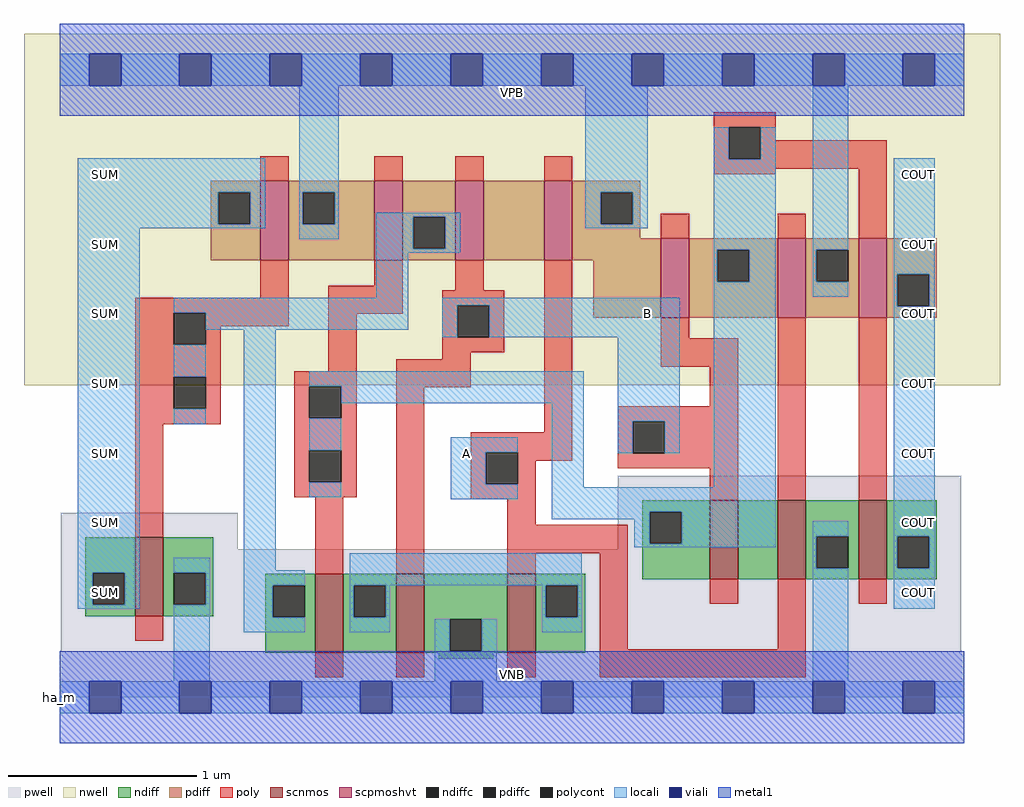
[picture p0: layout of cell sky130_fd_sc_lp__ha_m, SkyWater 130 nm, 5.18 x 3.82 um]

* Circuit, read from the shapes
.subckt sky130_fd_sc_lp__ha_m A B VGND VNB VPB VPWR COUT SUM
XM1 VGND n1 SUM VNB sky130_fd_pr__nfet_01v8 w=0.42 l=0.15
XM2 n2 n3 n1 VNB sky130_fd_pr__nfet_01v8 w=0.42 l=0.15
XM3 VGND B n2 VNB sky130_fd_pr__nfet_01v8 w=0.42 l=0.15
XM4 n2 A VGND VNB sky130_fd_pr__nfet_01v8 w=0.42 l=0.15
XM5 n4 B n3 VNB sky130_fd_pr__nfet_01v8 w=0.42 l=0.15
XM6 VGND A n4 VNB sky130_fd_pr__nfet_01v8 w=0.42 l=0.15
XM7 COUT n3 VGND VNB sky130_fd_pr__nfet_01v8 w=0.42 l=0.15
XM8 VPWR n1 SUM VPB sky130_fd_pr__pfet_01v8_hvt w=0.42 l=0.15
XM9 n1 n3 VPWR VPB sky130_fd_pr__pfet_01v8_hvt w=0.42 l=0.15
XM10 n5 B n1 VPB sky130_fd_pr__pfet_01v8_hvt w=0.42 l=0.15
XM11 VPWR A n5 VPB sky130_fd_pr__pfet_01v8_hvt w=0.42 l=0.15
XM12 n3 B VPWR VPB sky130_fd_pr__pfet_01v8_hvt w=0.42 l=0.15
XM13 VPWR A n3 VPB sky130_fd_pr__pfet_01v8_hvt w=0.42 l=0.15
XM14 COUT n3 VPWR VPB sky130_fd_pr__pfet_01v8_hvt w=0.42 l=0.15
.ends

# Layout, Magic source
magic
tech sky130A
magscale 1 2
<< nwell >>
rect -38 331 998 704
<< pwell >>
rect 1 157 189 196
rect 592 157 957 235
rect 1 49 957 157
rect 0 0 960 49
<< scnmos >>
rect 80 86 110 170
rect 271 47 301 131
rect 357 47 387 131
rect 475 47 505 131
rect 690 125 720 209
rect 762 125 792 209
rect 848 125 878 209
<< scpmoshvt >>
rect 213 464 243 548
rect 334 464 364 548
rect 420 464 450 548
rect 514 464 544 548
rect 638 403 668 487
rect 762 403 792 487
rect 848 403 878 487
<< ndiff >>
rect 27 132 80 170
rect 27 98 35 132
rect 69 98 80 132
rect 27 86 80 98
rect 110 132 163 170
rect 110 98 121 132
rect 155 98 163 132
rect 618 197 690 209
rect 110 86 163 98
rect 218 119 271 131
rect 218 85 226 119
rect 260 85 271 119
rect 218 47 271 85
rect 301 119 357 131
rect 301 85 312 119
rect 346 85 357 119
rect 301 47 357 85
rect 387 83 475 131
rect 387 49 414 83
rect 448 49 475 83
rect 387 47 475 49
rect 505 119 558 131
rect 505 85 516 119
rect 550 85 558 119
rect 505 47 558 85
rect 618 163 626 197
rect 660 163 690 197
rect 618 125 690 163
rect 720 125 762 209
rect 792 171 848 209
rect 792 137 803 171
rect 837 137 848 171
rect 792 125 848 137
rect 878 171 931 209
rect 878 137 889 171
rect 923 137 931 171
rect 878 125 931 137
rect 402 41 460 47
<< pdiff >>
rect 160 536 213 548
rect 160 502 168 536
rect 202 502 213 536
rect 160 464 213 502
rect 243 536 334 548
rect 243 502 258 536
rect 292 502 334 536
rect 243 464 334 502
rect 364 510 420 548
rect 364 476 375 510
rect 409 476 420 510
rect 364 464 420 476
rect 450 464 514 548
rect 544 536 616 548
rect 544 502 574 536
rect 608 502 616 536
rect 544 487 616 502
rect 544 464 638 487
rect 566 403 638 464
rect 668 475 762 487
rect 668 441 698 475
rect 732 441 762 475
rect 668 403 762 441
rect 792 475 848 487
rect 792 441 803 475
rect 837 441 848 475
rect 792 403 848 441
rect 878 449 931 487
rect 878 415 889 449
rect 923 415 931 449
rect 878 403 931 415
<< ndiffc >>
rect 35 98 69 132
rect 121 98 155 132
rect 226 85 260 119
rect 312 85 346 119
rect 414 49 448 83
rect 516 85 550 119
rect 626 163 660 197
rect 803 137 837 171
rect 889 137 923 171
<< pdiffc >>
rect 168 502 202 536
rect 258 502 292 536
rect 375 476 409 510
rect 574 502 608 536
rect 698 441 732 475
rect 803 441 837 475
rect 889 415 923 449
<< poly >>
rect 694 605 760 621
rect 213 548 243 574
rect 334 548 364 574
rect 420 548 450 574
rect 514 548 544 574
rect 694 571 710 605
rect 744 591 760 605
rect 744 571 878 591
rect 694 561 878 571
rect 694 555 760 561
rect 638 487 668 513
rect 762 487 792 513
rect 848 487 878 561
rect 213 424 243 464
rect 334 437 364 464
rect 80 408 243 424
rect 80 374 121 408
rect 155 394 243 408
rect 285 407 364 437
rect 420 432 450 464
rect 406 416 472 432
rect 155 374 171 394
rect 80 340 171 374
rect 285 346 315 407
rect 406 382 422 416
rect 456 382 472 416
rect 406 366 472 382
rect 406 359 436 366
rect 80 306 121 340
rect 155 306 171 340
rect 80 290 171 306
rect 249 330 315 346
rect 249 296 265 330
rect 299 296 315 330
rect 80 170 110 290
rect 249 262 315 296
rect 249 228 265 262
rect 299 228 315 262
rect 249 212 315 228
rect 357 329 436 359
rect 271 131 301 212
rect 357 131 387 329
rect 514 281 544 464
rect 638 381 668 403
rect 638 351 720 381
rect 690 309 720 351
rect 436 260 544 281
rect 436 226 452 260
rect 486 251 544 260
rect 592 293 720 309
rect 592 259 608 293
rect 642 259 720 293
rect 486 226 505 251
rect 592 243 720 259
rect 436 210 505 226
rect 475 183 505 210
rect 690 209 720 243
rect 762 209 792 403
rect 848 209 878 403
rect 475 153 603 183
rect 475 131 505 153
rect 80 60 110 86
rect 573 51 603 153
rect 690 99 720 125
rect 762 51 792 125
rect 848 99 878 125
rect 271 21 301 47
rect 357 21 387 47
rect 475 21 505 47
rect 573 21 792 51
<< polycont >>
rect 710 571 744 605
rect 121 374 155 408
rect 422 382 456 416
rect 121 306 155 340
rect 265 296 299 330
rect 265 228 299 262
rect 452 226 486 260
rect 608 259 642 293
<< locali >>
rect 0 649 31 683
rect 65 649 127 683
rect 161 649 223 683
rect 257 649 319 683
rect 353 649 415 683
rect 449 649 511 683
rect 545 649 607 683
rect 641 649 703 683
rect 737 649 799 683
rect 833 649 895 683
rect 929 649 960 683
rect 19 536 218 572
rect 19 502 168 536
rect 202 502 218 536
rect 19 498 218 502
rect 254 536 296 649
rect 254 502 258 536
rect 292 502 296 536
rect 558 536 624 649
rect 19 132 85 498
rect 254 486 296 502
rect 336 510 425 514
rect 336 476 375 510
rect 409 476 425 510
rect 558 502 574 536
rect 608 502 624 536
rect 558 498 624 502
rect 694 571 710 605
rect 744 571 760 605
rect 336 472 425 476
rect 694 475 760 571
rect 336 424 370 472
rect 694 441 698 475
rect 732 441 760 475
rect 121 408 370 424
rect 155 390 370 408
rect 406 416 658 424
rect 121 340 155 374
rect 121 290 155 306
rect 19 98 35 132
rect 69 98 85 132
rect 19 94 85 98
rect 121 132 159 148
rect 155 98 159 132
rect 121 17 159 98
rect 195 135 229 390
rect 406 382 422 416
rect 456 382 658 416
rect 265 330 556 346
rect 299 312 556 330
rect 265 262 299 296
rect 265 212 299 228
rect 415 260 486 276
rect 415 226 452 260
rect 415 210 486 226
rect 522 223 556 312
rect 592 293 658 382
rect 592 259 608 293
rect 642 259 658 293
rect 694 223 760 441
rect 799 475 837 649
rect 799 441 803 475
rect 799 425 837 441
rect 885 449 929 572
rect 522 197 760 223
rect 522 189 626 197
rect 610 163 626 189
rect 660 163 760 197
rect 885 415 889 449
rect 923 415 929 449
rect 610 159 760 163
rect 799 171 837 187
rect 195 119 260 135
rect 195 85 226 119
rect 195 69 260 85
rect 308 119 554 153
rect 308 85 312 119
rect 346 85 350 119
rect 308 69 350 85
rect 512 85 516 119
rect 550 85 554 119
rect 398 49 414 83
rect 448 49 464 83
rect 512 69 554 85
rect 799 137 803 171
rect 398 17 464 49
rect 799 17 837 137
rect 885 171 929 415
rect 885 137 889 171
rect 923 137 929 171
rect 885 94 929 137
rect 0 -17 31 17
rect 65 -17 127 17
rect 161 -17 223 17
rect 257 -17 319 17
rect 353 -17 415 17
rect 449 -17 511 17
rect 545 -17 607 17
rect 641 -17 703 17
rect 737 -17 799 17
rect 833 -17 895 17
rect 929 -17 960 17
<< viali >>
rect 31 649 65 683
rect 127 649 161 683
rect 223 649 257 683
rect 319 649 353 683
rect 415 649 449 683
rect 511 649 545 683
rect 607 649 641 683
rect 703 649 737 683
rect 799 649 833 683
rect 895 649 929 683
rect 31 -17 65 17
rect 127 -17 161 17
rect 223 -17 257 17
rect 319 -17 353 17
rect 415 -17 449 17
rect 511 -17 545 17
rect 607 -17 641 17
rect 703 -17 737 17
rect 799 -17 833 17
rect 895 -17 929 17
<< metal1 >>
rect 0 683 960 715
rect 0 649 31 683
rect 65 649 127 683
rect 161 649 223 683
rect 257 649 319 683
rect 353 649 415 683
rect 449 649 511 683
rect 545 649 607 683
rect 641 649 703 683
rect 737 649 799 683
rect 833 649 895 683
rect 929 649 960 683
rect 0 617 960 649
rect 0 17 960 49
rect 0 -17 31 17
rect 65 -17 127 17
rect 161 -17 223 17
rect 257 -17 319 17
rect 353 -17 415 17
rect 449 -17 511 17
rect 545 -17 607 17
rect 641 -17 703 17
rect 737 -17 799 17
rect 833 -17 895 17
rect 929 -17 960 17
rect 0 -49 960 -17
<< labels >>
flabel pwell s 0 0 960 49 0 FreeSans 200 0 0 0 VNB
port 4 nsew ground bidirectional
flabel nwell s 0 617 960 666 0 FreeSans 200 0 0 0 VPB
port 5 nsew power bidirectional
rlabel comment s 0 0 0 0 4 ha_m
flabel metal1 s 0 617 960 666 0 FreeSans 340 0 0 0 VPWR
port 6 nsew power bidirectional
flabel metal1 s 0 0 960 49 0 FreeSans 340 0 0 0 VGND
port 3 nsew ground bidirectional
flabel locali s 415 242 449 276 0 FreeSans 340 0 0 0 A
port 1 nsew signal input
flabel locali s 895 94 929 128 0 FreeSans 340 0 0 0 COUT
port 7 nsew signal output
flabel locali s 895 168 929 202 0 FreeSans 340 0 0 0 COUT
port 7 nsew signal output
flabel locali s 895 242 929 276 0 FreeSans 340 0 0 0 COUT
port 7 nsew signal output
flabel locali s 895 316 929 350 0 FreeSans 340 0 0 0 COUT
port 7 nsew signal output
flabel locali s 895 390 929 424 0 FreeSans 340 0 0 0 COUT
port 7 nsew signal output
flabel locali s 895 464 929 498 0 FreeSans 340 0 0 0 COUT
port 7 nsew signal output
flabel locali s 895 538 929 572 0 FreeSans 340 0 0 0 COUT
port 7 nsew signal output
flabel locali s 31 94 65 128 0 FreeSans 340 0 0 0 SUM
port 8 nsew signal output
flabel locali s 31 168 65 202 0 FreeSans 340 0 0 0 SUM
port 8 nsew signal output
flabel locali s 31 242 65 276 0 FreeSans 340 0 0 0 SUM
port 8 nsew signal output
flabel locali s 31 316 65 350 0 FreeSans 340 0 0 0 SUM
port 8 nsew signal output
flabel locali s 31 390 65 424 0 FreeSans 340 0 0 0 SUM
port 8 nsew signal output
flabel locali s 31 464 65 498 0 FreeSans 340 0 0 0 SUM
port 8 nsew signal output
flabel locali s 31 538 65 572 0 FreeSans 340 0 0 0 SUM
port 8 nsew signal output
flabel locali s 607 390 641 424 0 FreeSans 340 0 0 0 B
port 2 nsew signal input
<< properties >>
string LEFsite unit
string LEFclass CORE
string FIXED_BBOX 0 0 960 666
string GDS_FILE $PDKPATH/libs.ref/sky130_fd_sc_lp/gds/sky130_fd_sc_lp.gds
string LEFsymmetry X Y R90
string GDS_END 6722280
string GDS_START 6713698
<< end >>
